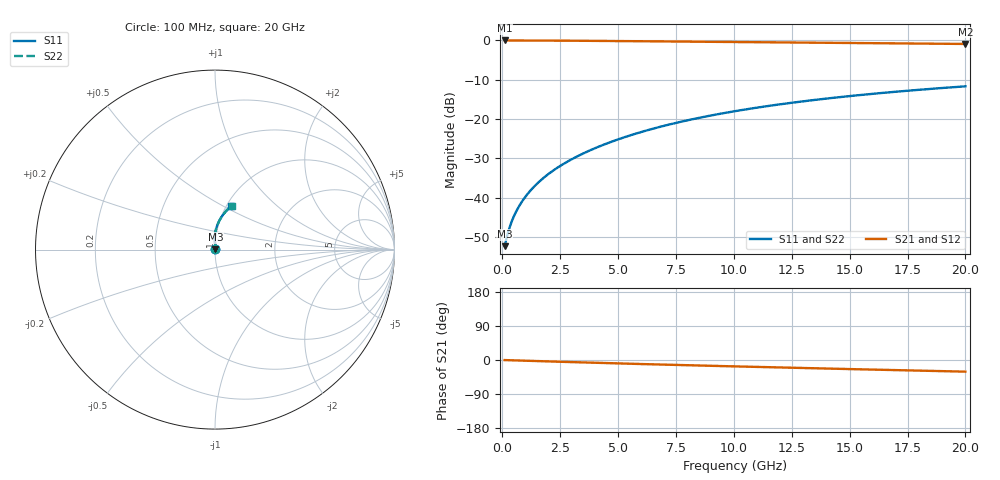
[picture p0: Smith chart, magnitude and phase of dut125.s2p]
! Touchstone file exported from HFSS 2024.1.0
!  File:  C:/UserFiles/LocalFiles/RDL_TSV_Batchsim/temp_RDL_top_125_1778684121.aedt
!  Generated:  10:57:45 PM May 13, 2026
!  Design:  RDL_top
!  Project:  temp_RDL_top_125_1778684121
!  Setup:  Setup1
!  Solution:  Sweep
! Variables:
!  dtsv = 10.80580581um
!  hbump = 3um
!  htsv = 77.63um
!  ldown = 100um
!  lrdl = 437.69um
!  p = 40
!  p1 = 51.59um
!  rhole = 1um
!  t = 450um
!  tdown = 3.915915916um
!  trdl = 3um
!  wdown = 15.38538539um
!  wrdl = 28.6um
# GHz S MA R 50.000000
! Terminal data exported
! Port[1] = Box2_T1
! Port[2] = Box2_T2
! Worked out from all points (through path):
!   200 points, 100 MHz to 20 GHz, reference 50 ohm
!   highest |S21| = -0.02 dB at 100 MHz (marker M1); lowest = -0.9 dB at 20 GHz (marker M2)
!   group delay of S21, straight-line fit = 4.21 ps
!   lowest |S11| = -52.4 dB at 100 MHz (marker M3), VSWR 1.00, Z = 50.2 + j0.117 ohm
!   |S11| at or under -10 dB: start of sweep to end of sweep
!   |S22| runs from -52.4 to -11.7 dB; largest |S21 - S12| = 3.1e-15
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0.1  0.002404 29.0  0.9979 -0.2  0.9979 -0.2  0.002404 29.0
! Gamma 0 0 0 0
! Port Impedance 50 0 50 0
0.2  0.003169 45.5  0.9977 -0.4  0.9977 -0.4  0.003169 45.5
0.3  0.004032 54.5  0.9976 -0.6  0.9976 -0.6  0.004032 54.5
0.4  0.004902 60.2  0.9974 -0.8  0.9974 -0.8  0.004902 60.2
0.5  0.005771 64.4  0.9972 -1.0  0.9972 -1.0  0.005771 64.4
0.6  0.006645 67.7  0.9971 -1.1  0.9971 -1.1  0.006645 67.7
0.8  0.008423 72.7  0.9967 -1.5  0.9967 -1.5  0.008423 72.7
1  0.01025 76.2  0.9964 -1.9  0.9964 -1.9  0.01025 76.2
1.2  0.01212 78.9  0.996 -2.3  0.996 -2.3  0.01212 78.9
1.7  0.01698 83.5  0.9949 -3.2  0.9949 -3.2  0.01698 83.4
2.2  0.02207 86.3  0.9934 -4.1  0.9934 -4.1  0.02207 86.3
2.8  0.0285 88.5  0.9913 -5.2  0.9913 -5.2  0.0285 88.5
3.5  0.03644 90.1  0.9884 -6.4  0.9884 -6.4  0.03644 90.1
4.2  0.04484 90.9  0.9851 -7.6  0.9851 -7.6  0.04484 90.9
5  0.05494 91.2  0.981 -9.0  0.981 -9.0  0.05494 91.2
6.8  0.07922 90.3  0.971 -11.9  0.971 -11.9  0.07922 90.3
8.4  0.1019 88.4  0.9619 -14.4  0.9619 -14.4  0.1019 88.4
10.1  0.1264 85.8  0.9524 -17.0  0.9524 -17.0  0.1264 85.8
11.7  0.1494 83.1  0.9437 -19.3  0.9437 -19.3  0.1494 83.1
13.4  0.1734 80.2  0.9347 -21.7  0.9347 -21.7  0.1734 80.2
16.7  0.2182 74.6  0.9176 -26.3  0.9176 -26.3  0.2182 74.6
20  0.2601 69.3  0.9007 -30.7  0.9007 -30.7  0.2601 69.3
